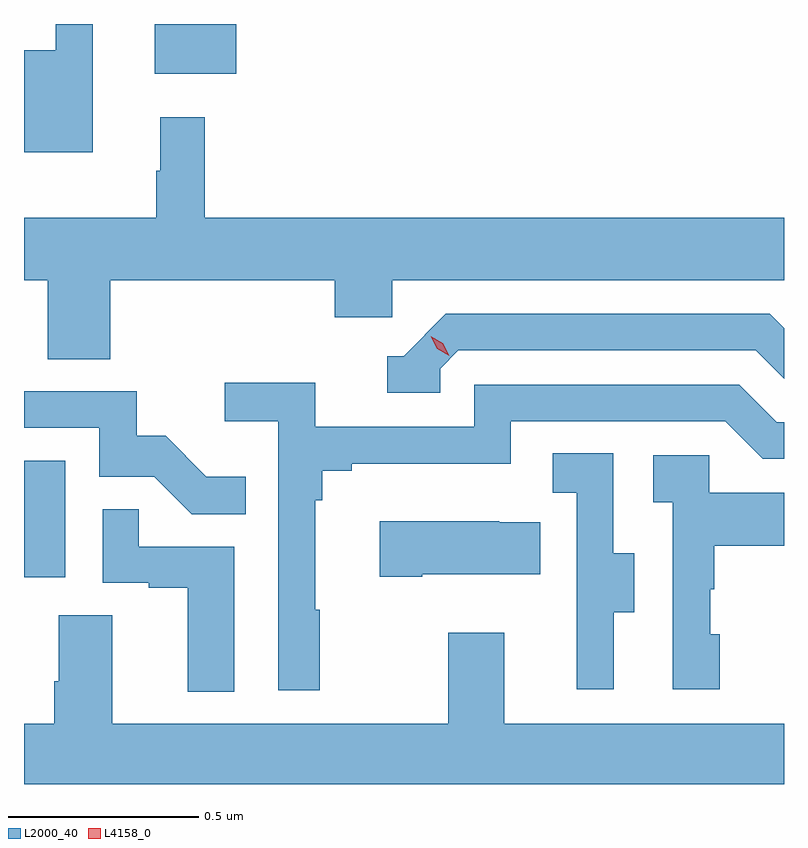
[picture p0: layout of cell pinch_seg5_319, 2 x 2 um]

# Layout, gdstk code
import gdstk
lib = gdstk.Library(unit=1e-6, precision=1e-09)
def R(c, l, rs):  # rectangles x0, y0, x1, y1
    for r in rs: c.add(gdstk.rectangle(r[:2], r[2:], *l))
def P(c, l, *ps):  # polygons
    for p in ps: c.add(gdstk.Polygon(p, *l))
L2000_40 = (2000, 40)
L4158_0 = (4158, 0)

pinch_seg5_319 = lib.new_cell('pinch_seg5_319')
R(pinch_seg5_319, L2000_40, [(912.183,883.95,912.292,884.257), (912.527,885.275,912.742,885.406)])
P(pinch_seg5_319, L2000_40, [(912.364,885.406),(912.267,885.406),(912.267,885.337),(912.183,885.337),(912.183,885.068),(912.364,885.068)],
  [(912.41,884.732),(913.001,884.732),(913.001,884.634),(913.152,884.634),(913.152,884.732),(914.183,884.732),(914.183,884.896),(912.659,884.896),(912.659,885.16),(912.542,885.16),(912.542,885.02),(912.531,885.02),(912.531,884.896),(912.183,884.896),(912.183,884.732),(912.245,884.732),(912.245,884.524),(912.41,884.524)],
  [(913.278,884.499),(913.326,884.547),(914.109,884.547),(914.183,884.473),(914.183,884.606),(914.146,884.643),(913.293,884.643),(913.182,884.532),(913.139,884.532),(913.139,884.436),(913.278,884.436)],
  [(912.961,883.865),(912.949,883.865),(912.949,884.153),(912.968,884.153),(912.968,884.23),(913.045,884.23),(913.045,884.249),(913.464,884.249),(913.464,884.361),(914.028,884.361),(914.127,884.262),(914.183,884.262),(914.183,884.358),(914.164,884.358),(914.065,884.457),(913.368,884.457),(913.368,884.346),(912.95,884.346),(912.95,884.462),(912.711,884.462),(912.711,884.36),(912.852,884.36),(912.852,883.653),(912.961,883.653)],
  [(912.767,884.215),(912.663,884.215),(912.556,884.322),(912.48,884.322),(912.48,884.439),(912.183,884.439),(912.183,884.343),(912.381,884.343),(912.381,884.214),(912.526,884.214),(912.624,884.116),(912.767,884.116)],
  [(913.735,883.858),(913.789,883.858),(913.789,884.013),(913.734,884.013),(913.734,884.276),(913.575,884.276),(913.575,884.173),(913.638,884.173),(913.638,883.869),(913.637,883.869),(913.637,883.656),(913.735,883.656)],
  [(914.014,883.8),(913.989,883.8),(913.989,883.919),(913.999,883.919),(913.999,884.033),(914.183,884.033),(914.183,884.173),(913.986,884.173),(913.986,884.271),(913.839,884.271),(913.839,884.147),(913.89,884.147),(913.89,883.656),(914.014,883.656)],
  [(912.736,884.031),(912.485,884.031),(912.485,884.129),(912.39,884.129),(912.39,883.935),(912.511,883.935),(912.511,883.923),(912.614,883.923),(912.614,883.649),(912.736,883.649)],
  [(913.231,883.958),(913.541,883.958),(913.541,884.095),(913.433,884.095),(913.433,884.098),(913.119,884.098),(913.119,883.951),(913.231,883.951)],
  [(914.183,883.564),(913.447,883.564),(913.447,883.804),(913.3,883.804),(913.3,883.564),(912.415,883.564),(912.415,883.85),(912.275,883.85),(912.275,883.676),(912.263,883.676),(912.263,883.564),(912.183,883.564),(912.183,883.406),(914.183,883.406)])
P(pinch_seg5_319, L4158_0, [(913.302,884.533),(913.271,884.552),(913.254,884.584),(913.254,884.584),(913.254,884.584),(913.285,884.566),(913.302,884.533),(913.302,884.533)])

lib.write_gds('pinch_seg5_319.gds')
